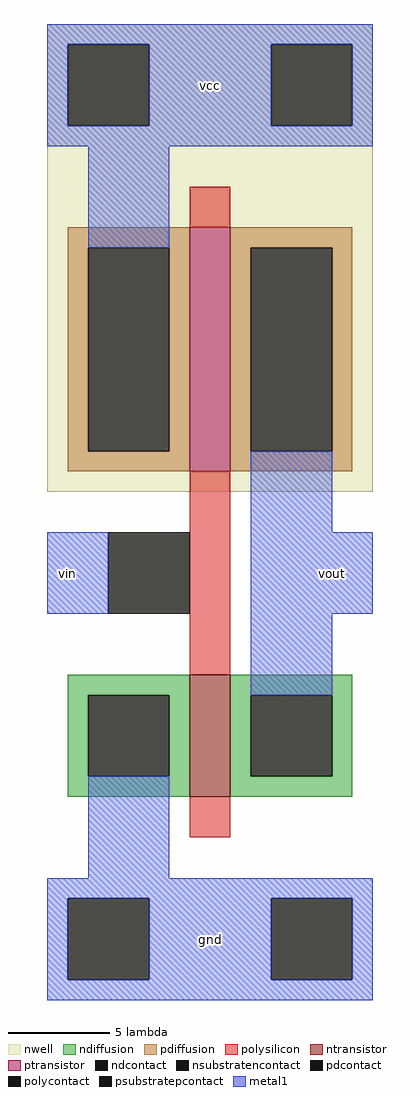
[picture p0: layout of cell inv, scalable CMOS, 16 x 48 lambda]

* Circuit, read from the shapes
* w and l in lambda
.subckt inv gnd vcc vin vout
M1 vout vin gnd gnd nfet w=6 l=2
M2 vout vin vcc vcc pfet w=12 l=2
.ends

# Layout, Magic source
magic
tech scmos
<< nwell >>
rect -16 30 0 53
<< polysilicon >>
rect -9 43 -7 45
rect -9 21 -7 31
rect -9 13 -7 15
<< ndiffusion >>
rect -15 20 -9 21
rect -15 16 -14 20
rect -10 16 -9 20
rect -15 15 -9 16
rect -7 20 -1 21
rect -7 16 -6 20
rect -2 16 -1 20
rect -7 15 -1 16
<< pdiffusion >>
rect -15 42 -9 43
rect -15 32 -14 42
rect -10 32 -9 42
rect -15 31 -9 32
rect -7 42 -1 43
rect -7 32 -6 42
rect -2 32 -1 42
rect -7 31 -1 32
<< metal1 >>
rect -16 52 0 53
rect -16 48 -15 52
rect -11 48 -5 52
rect -1 48 0 52
rect -16 47 0 48
rect -14 42 -10 47
rect -6 28 -2 32
rect -16 24 -13 28
rect -6 24 0 28
rect -6 20 -2 24
rect -14 11 -10 16
rect -16 10 0 11
rect -16 6 -15 10
rect -11 6 -5 10
rect -1 6 0 10
rect -16 5 0 6
<< ntransistor >>
rect -9 15 -7 21
<< ptransistor >>
rect -9 31 -7 43
<< polycontact >>
rect -13 24 -9 28
<< ndcontact >>
rect -14 16 -10 20
rect -6 16 -2 20
<< pdcontact >>
rect -14 32 -10 42
rect -6 32 -2 42
<< psubstratepcontact >>
rect -15 6 -11 10
rect -5 6 -1 10
<< nsubstratencontact >>
rect -15 48 -11 52
rect -5 48 -1 52
<< labels >>
rlabel metal1 -8 8 -8 8 1 gnd
rlabel metal1 -8 50 -8 50 5 vcc
rlabel metal1 -15 26 -15 26 3 vin
rlabel metal1 -2 26 -2 26 7 vout
<< end >>
